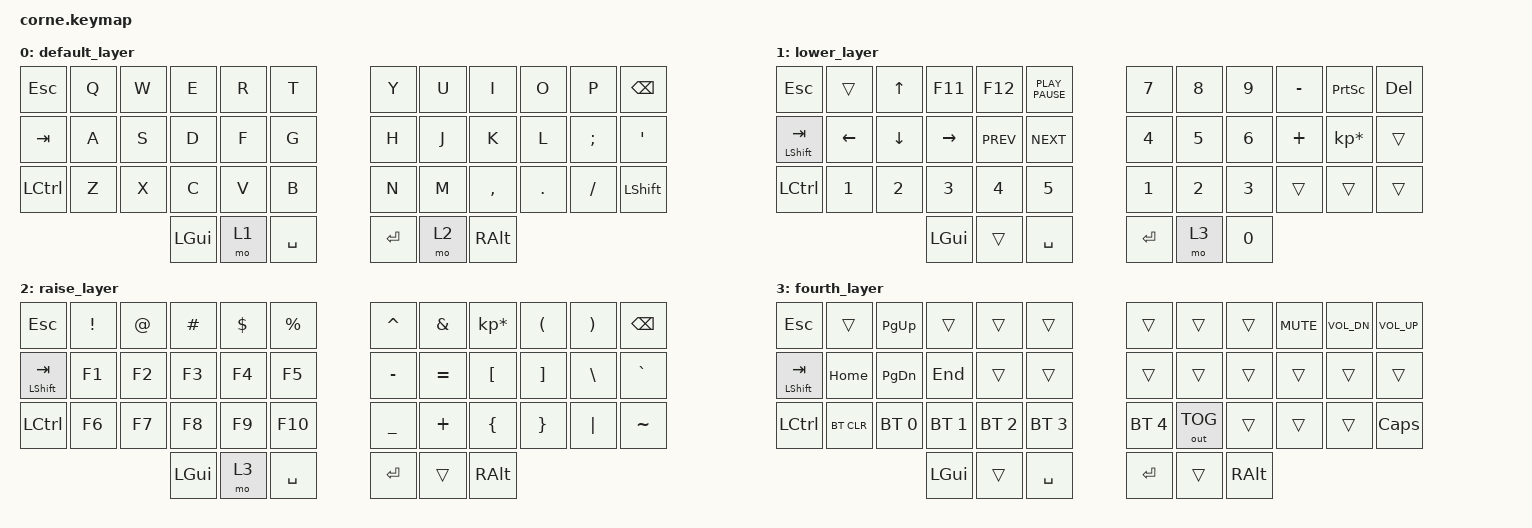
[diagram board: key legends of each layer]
/*
 * Copyright (c) 2020 The ZMK Contributors
 *
 * SPDX-License-Identifier: MIT
 */

#include <behaviors.dtsi>
#include <dt-bindings/zmk/keys.h>
#include <dt-bindings/zmk/bt.h>
#include <dt-bindings/zmk/ext_power.h>
#include <dt-bindings/zmk/outputs.h>


/ {
        keymap {
                compatible = "zmk,keymap";

                default_layer {
// -----------------------------------------------------------------------------------------
// |  ESC |  Q  |  W  |  E  |  R  |  T  |   |  Y  |  U   |  I  |  O  |  P  | BKSP |
// |  TAB |  A  |  S  |  D  |  F  |  G  |   |  H  |  J   |  K  |  L  |  ;  |  '   |
// | CTRL |  Z  |  X  |  C  |  V  |  B  |   |  N  |  M   |  ,  |  .  |  /  | SHFT |
//                    | GUI | LWR | SPC |   | ENT | RSE  | ALT |
                        bindings = <
   &kp ESC   &kp Q &kp W &kp E &kp R &kp T   &kp Y &kp U  &kp I     &kp O   &kp P    &kp BSPC
   &kp TAB &kp A &kp S &kp D &kp F &kp G   &kp H &kp J  &kp K     &kp L   &kp SEMI &kp SQT
   &kp LCTRL &kp Z &kp X &kp C &kp V &kp B   &kp N &kp M  &kp COMMA &kp DOT &kp FSLH &kp LSHFT
                  &kp LGUI &mo 1 &kp SPACE   &kp RET &mo 2 &kp RALT
                        >;
                };
                lower_layer {
// -----------------------------------------------------------------------------------------
// |  ESC |     |  UP | F11 | F12 |PLAY |   |  7  |  8  |  9  |  -  | PRNT|  DEL |
// |  TAB | LFT | DWN | RGT |PREV |NEXT |   |  4  |  5  |  6  |  +  |  *  |      |
// | CTRL |  1  |  2  |  3  |  4  |  5  |   |  1  |  2  |  3  |  .  |  /  |      |
//                    | GUI |     | SPC |   | ENT |     |  0  |
                        bindings = <
   &kp ESC    &trans   &kp UP       &kp F11       &kp F12       &kp K_PLAY_PAUSE         &kp N7   &kp N8   &kp N9 &kp MINUS    &kp PRINTSCREEN &kp DELETE
   &mt LSHIFT TAB    &kp LEFT &kp DOWN &kp RIGHT &kp K_PREV &kp K_NEXT   &kp N4 &kp N5 &kp N6 &kp PLUS &kp KP_MULTIPLY &trans
   &kp LCTRL  &kp N1   &kp N2       &kp N3       &kp N4       &kp N5         &kp N1   &kp N2   &kp N3 &trans    &trans &trans
                                    &kp LGUI     &trans       &kp SPACE      &kp RET  &mo 3   &kp N0
                        >;
                };

                raise_layer {
// -----------------------------------------------------------------------------------------
// |  TAB |  !  |  @  |  #  |  $  |  %  |   |  ^  |  &  |  *  |  (  |  )  | BKSP |
// | CTRL | F1  | F2  | F3  | F4  | F5  |   |  -  |  =  |  [  |  ]  |  \  |  `   |
// | SHFT | F6  | F7  | F8  | F9  | F10 |   |  _  |  +  |  {  |  }  | "|" |  ~   |
//                    | GUI |     | SPC |   | ENT |     | ALT |
                        bindings = <
   &kp  ESC  &kp EXCL &kp AT &kp HASH &kp DLLR &kp PRCNT   &kp CARET &kp AMPS  &kp KP_MULTIPLY &kp LPAR &kp RPAR &kp BSPC
   &mt LSHIFT TAB &kp F1   &kp F2 &kp F3   &kp F4   &kp F5      &kp MINUS &kp EQUAL &kp LBKT        &kp RBKT &kp BSLH &kp GRAVE
   &kp LCTRL &kp F6   &kp F7 &kp F8   &kp F9   &kp F10      &kp UNDER &kp PLUS  &kp LBRC        &kp RBRC &kp PIPE &kp TILDE
                             &kp LGUI &mo 3   &kp SPACE   &kp RET   &trans    &kp RALT
                        >;
                };
                fourth_layer {
// -----------------------------------------------------------------------------------------
// |  ESC |     | PGU |     |     |     |   |     |     |     | MUTE| VO- | VO+  |
// |  TAB | HOME| PGD | END |     |     |   |     |     |     |     |     |      |
// | CTRL | BT_C| BT1 | BT2 | BT3 | BT4 |   | BT5 | TGL |     |     |     | CAPS |
//                    | GUI |     | SPC |   | ENT |     | ALT |
                    bindings = <
                            &kp ESC   &trans &kp PG_UP &trans &trans &trans   &trans &trans  &trans &kp C_MUTE &kp C_VOL_DN &kp C_VOL_UP
                            &mt LSHIFT TAB   &kp HOME   &kp PG_DN     &kp END   &trans   &trans      &trans &trans &trans        &trans &trans &trans
                           &kp LCTRL  &bt BT_CLR   &bt BT_SEL 0       &bt BT_SEL 1       &bt BT_SEL 2       &bt BT_SEL 3        &bt BT_SEL 4 &out OUT_TOG    &trans &trans    &trans &kp CAPSLOCK
                            &kp LGUI  &trans   &kp SPACE  &kp RET  &trans   &kp RALT
                        >;
                };
        };
};
